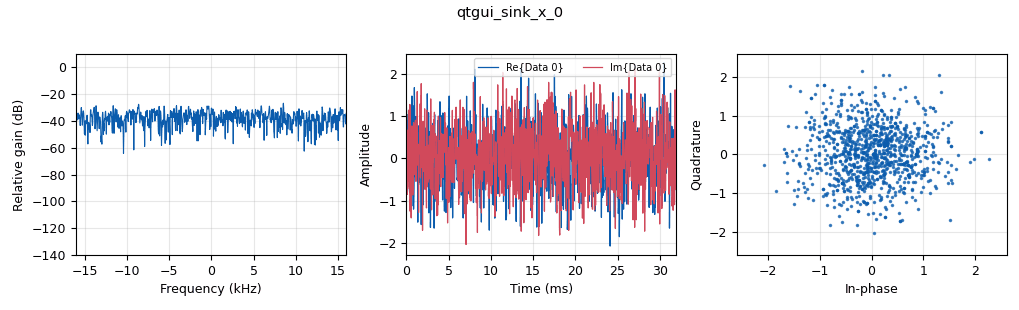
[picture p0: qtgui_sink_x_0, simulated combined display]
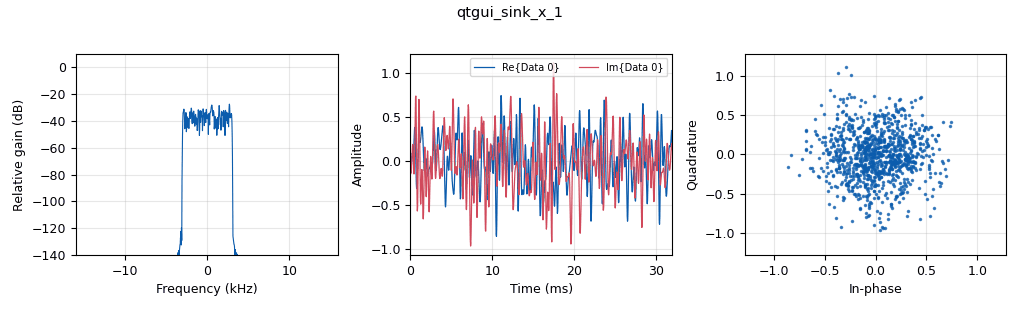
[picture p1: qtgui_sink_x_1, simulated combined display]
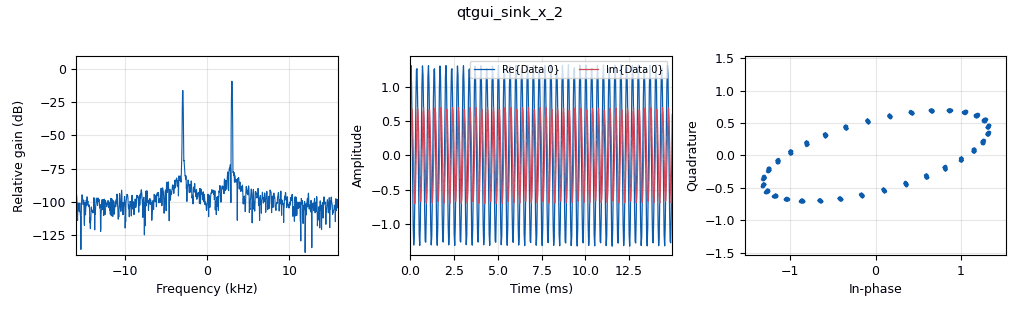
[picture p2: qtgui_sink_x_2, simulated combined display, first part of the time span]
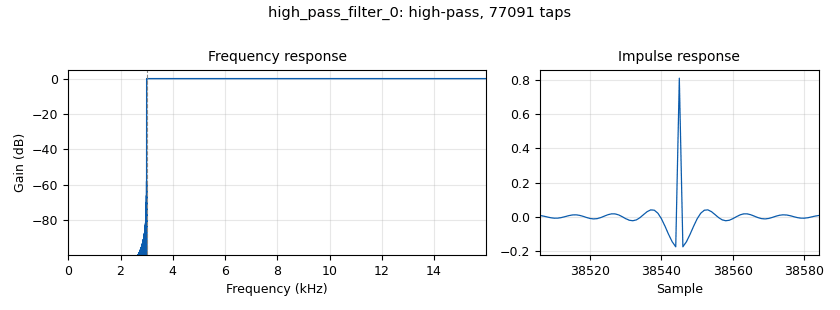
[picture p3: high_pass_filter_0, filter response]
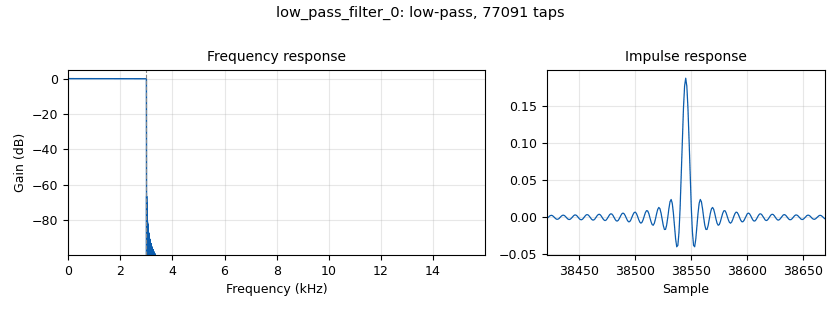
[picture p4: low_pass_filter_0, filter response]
options:
  parameters:
    generate_options: qt_gui
    id: fil
    output_language: python
    title: Not titled yet
  states: {}

blocks:
- name: samp_rate
  id: variable
  parameters:
    value: '32000'
  states: {}
- name: analog_fastnoise_source_x_0
  id: analog_fastnoise_source_x
  parameters:
    amp: '1'
    noise_type: analog.GR_GAUSSIAN
    samples: '8192'
    seed: '0'
    type: complex
  states: {}
- name: blocks_multiply_const_vxx_0
  id: blocks_multiply_const_vxx
  parameters:
    const: 10e2
    type: complex
  states: {}
- name: blocks_throttle2_0
  id: blocks_throttle2
  parameters:
    samples_per_second: samp_rate
    type: complex
  states: {}
- name: high_pass_filter_0
  id: high_pass_filter
  parameters:
    cutoff_freq: 3e3
    decim: '1'
    gain: '1'
    samp_rate: samp_rate
    type: fir_filter_ccf
    width: '1'
    win: window.WIN_HAMMING
  states: {}
- name: low_pass_filter_0
  id: low_pass_filter
  parameters:
    cutoff_freq: 3e3
    decim: '1'
    gain: '1'
    samp_rate: samp_rate
    type: fir_filter_ccf
    width: '1'
    win: window.WIN_HAMMING
  states: {}
- name: qtgui_sink_x_0
  id: qtgui_sink_x
  parameters:
    bw: samp_rate
    fc: '0'
    fftsize: '1024'
    type: complex
  states: {}
- name: qtgui_sink_x_1
  id: qtgui_sink_x
  parameters:
    bw: samp_rate
    fc: '0'
    fftsize: '1024'
    type: complex
  states: {}
- name: qtgui_sink_x_2
  id: qtgui_sink_x
  parameters:
    bw: samp_rate
    fc: '0'
    fftsize: '1024'
    type: complex
  states: {}

connections:
- [analog_fastnoise_source_x_0, '0', blocks_throttle2_0, '0']
- [analog_fastnoise_source_x_0, '0', qtgui_sink_x_0, '0']
- [blocks_multiply_const_vxx_0, '0', qtgui_sink_x_2, '0']
- [blocks_throttle2_0, '0', low_pass_filter_0, '0']
- [high_pass_filter_0, '0', blocks_multiply_const_vxx_0, '0']
- [low_pass_filter_0, '0', high_pass_filter_0, '0']
- [low_pass_filter_0, '0', qtgui_sink_x_1, '0']

metadata:
  file_format: 1
  grc_version: 3.10.12.0
